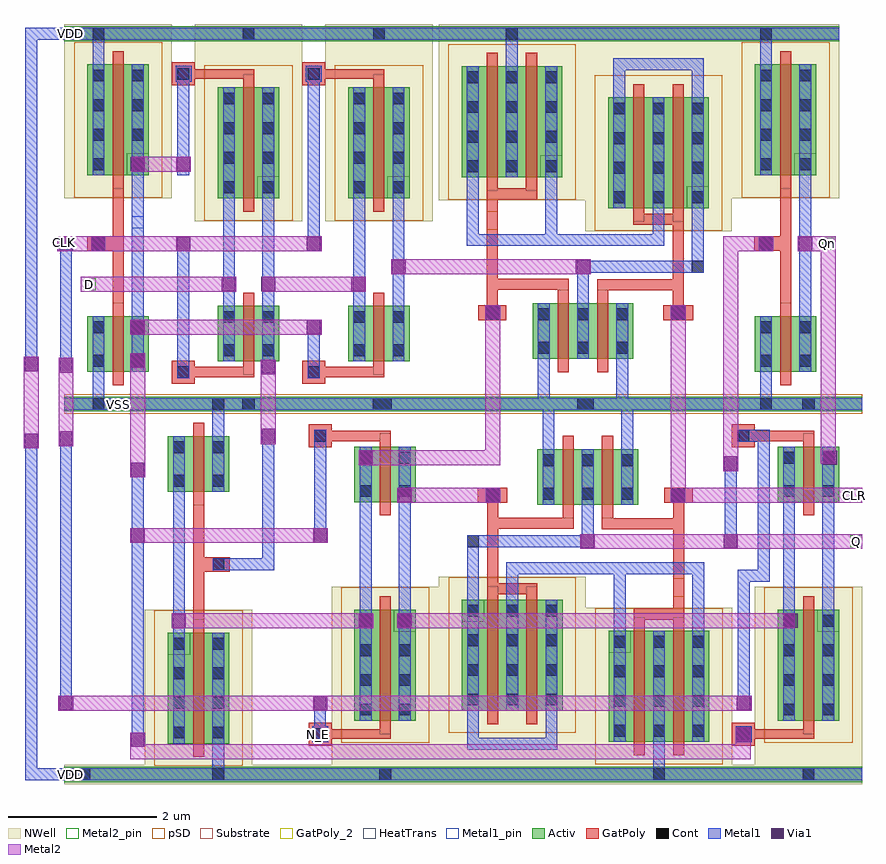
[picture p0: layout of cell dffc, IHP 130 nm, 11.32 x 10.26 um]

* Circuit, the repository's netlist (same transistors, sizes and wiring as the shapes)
* Extracted by KLayout with SG13G2 LVS runset on : 24/03/2026 19:41

.SUBCKT dffc
M$1 \$1 \$7 \$4 \$1 sg13_lv_nmos L=0.15u W=0.75u AS=0.255p AD=0.1425p PS=2.18u
+ PD=1.13u
M$2 \$4 \$17 \$1 \$1 sg13_lv_nmos L=0.15u W=0.75u AS=0.1425p AD=0.255p PS=1.13u
+ PD=2.18u
M$3 \$5 \$3 \$7 \$1 sg13_lv_nmos L=0.15u W=0.75u AS=0.255p AD=0.255p PS=2.18u
+ PD=2.18u
M$4 \$7 \$6 \$9 \$1 sg13_lv_nmos L=0.15u W=0.75u AS=0.255p AD=0.255p PS=2.18u
+ PD=2.18u
M$5 \$5 \$10 \$1 \$1 sg13_lv_nmos L=0.15u W=0.75u AS=0.255p AD=0.255p PS=2.18u
+ PD=2.18u
M$6 \$1 \$6 \$3 \$1 sg13_lv_nmos L=0.15u W=0.75u AS=0.255p AD=0.255p PS=2.18u
+ PD=2.18u
M$7 \$1 \$4 \$9 \$1 sg13_lv_nmos L=0.15u W=0.75u AS=0.255p AD=0.255p PS=2.18u
+ PD=2.18u
M$8 \$23 \$6 \$10 \$1 sg13_lv_nmos L=0.15u W=0.75u AS=0.255p AD=0.255p PS=2.18u
+ PD=2.18u
M$9 \$10 \$3 \$24 \$1 sg13_lv_nmos L=0.15u W=0.75u AS=0.255p AD=0.255p PS=2.18u
+ PD=2.18u
M$10 \$1 \$5 \$24 \$1 sg13_lv_nmos L=0.15u W=0.75u AS=0.255p AD=0.1425p
+ PS=2.18u PD=1.13u
M$11 \$24 \$17 \$1 \$1 sg13_lv_nmos L=0.15u W=0.75u AS=0.1425p AD=0.255p
+ PS=1.13u PD=2.18u
M$12 \$5 \$10 \$2 \$2 sg13_lv_pmos L=0.15u W=1.5u AS=0.51p AD=0.51p PS=3.68u
+ PD=3.68u
M$13 \$8 \$17 \$2 \$2 sg13_lv_pmos L=0.15u W=3u AS=0.795p AD=0.795p PS=5.56u
+ PD=5.56u
M$15 \$5 \$6 \$7 \$2 sg13_lv_pmos L=0.15u W=1.5u AS=0.51p AD=0.51p PS=3.68u
+ PD=3.68u
M$16 \$7 \$3 \$9 \$2 sg13_lv_pmos L=0.15u W=1.5u AS=0.51p AD=0.51p PS=3.68u
+ PD=3.68u
M$17 \$4 \$7 \$8 \$2 sg13_lv_pmos L=0.15u W=3u AS=0.795p AD=0.795p PS=5.56u
+ PD=5.56u
M$19 \$24 \$17 \$31 \$2 sg13_lv_pmos L=0.15u W=3u AS=0.795p AD=0.795p PS=5.56u
+ PD=5.56u
M$21 \$23 \$3 \$10 \$2 sg13_lv_pmos L=0.15u W=1.5u AS=0.51p AD=0.51p PS=3.68u
+ PD=3.68u
M$22 \$10 \$6 \$24 \$2 sg13_lv_pmos L=0.15u W=1.5u AS=0.51p AD=0.51p PS=3.68u
+ PD=3.68u
M$23 \$31 \$5 \$2 \$2 sg13_lv_pmos L=0.15u W=3u AS=0.795p AD=0.795p PS=5.56u
+ PD=5.56u
M$25 \$2 \$6 \$3 \$2 sg13_lv_pmos L=0.15u W=1.5u AS=0.51p AD=0.51p PS=3.68u
+ PD=3.68u
M$26 \$2 \$4 \$9 \$2 sg13_lv_pmos L=0.15u W=1.5u AS=0.51p AD=0.51p PS=3.68u
+ PD=3.68u
.ENDS dffc

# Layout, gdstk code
from math import pi, radians
import gdstk
lib = gdstk.Library(unit=1e-6, precision=5e-09)
def R(c, l, rs):  # rectangles x0, y0, x1, y1
    for r in rs: c.add(gdstk.rectangle(r[:2], r[2:], *l))
def A(c, l, x, y, w, h, nx, ny, dx, dy):  # array of equal rectangles
    R(c, l, [(x+i*dx, y+j*dy, x+i*dx+w, y+j*dy+h) for i in range(nx) for j in range(ny)])
Activ = (1, 0)
GatPoly = (5, 0)
GatPoly_2 = (5, 2)
Cont = (6, 0)
Metal1 = (8, 0)
Metal1_pin = (8, 2)
Metal2 = (10, 0)
Metal2_pin = (10, 2)
pSD = (14, 0)
Via1 = (19, 0)
NWell = (31, 0)
Substrate = (40, 0)
HeatTrans = (51, 0)

pmos_6 = lib.new_cell('pmos$6')
A(pmos_6, Activ, 0, 0, 0.3, 0.3, 3, 1, 0.53, 0)
R(pmos_6, Activ, [(0,0,1.36,1.5)])
R(pmos_6, GatPoly, [(0.34,-0.18,0.49,1.68), (0.34,-0.18,0.49,1.68), (0.87,-0.18,1.02,1.68)])
A(pmos_6, Cont, 0.07, 0.07, 0.16, 0.16, 3, 4, 0.53, 0.4)
R(pmos_6, Metal1, [(0.07,0,0.23,1.5), (0.07,0,0.23,1.5), (0.6,0,0.76,1.5), (0.6,0,0.76,1.5), (1.13,0,1.29,1.5)])
R(pmos_6, pSD, [(-0.18,-0.3,1.54,1.8)])
R(pmos_6, NWell, [(-0.31,-0.31,1.67,1.81)])
R(pmos_6, Substrate, [(1.06,0,1.36,0.3)])
R(pmos_6, HeatTrans, [(0.34,-0.18,0.49,1.68), (0.87,-0.18,1.02,1.68)])
pmos_6.add(gdstk.Label('pmos', (0.415,0.75), layer=63, texttype=0))
pmos_6.add(gdstk.Label('pmos', (0.415,0.75), layer=51, texttype=0))
pmos_6.add(gdstk.Label('pmos', (0.945,0.75), layer=51, texttype=0))

nmos_2_5 = lib.new_cell('nmos$2$5')
R(nmos_2_5, Activ, [(0,0,0.3,0.3), (0,0,0.83,0.75), (0.53,0,0.83,0.3)])
R(nmos_2_5, GatPoly, [(0.34,-0.18,0.49,0.93)])
R(nmos_2_5, GatPoly_2, [(0.34,-0.18,0.49,0.93)])
R(nmos_2_5, Cont, [(0.07,0.07,0.23,0.23), (0.6,0.07,0.76,0.23), (0.07,0.52,0.23,0.68), (0.6,0.52,0.76,0.68)])
R(nmos_2_5, Metal1, [(0.07,0,0.23,0.75), (0.6,0,0.76,0.75)])
R(nmos_2_5, Metal1_pin, [(0.07,0,0.23,0.75), (0.6,0,0.76,0.75)])
R(nmos_2_5, HeatTrans, [(0.34,-0.18,0.49,0.93)])
nmos_2_5.add(gdstk.Label('nmos', (0.415,0.375), layer=63, texttype=0))
nmos_2_5.add(gdstk.Label('nmos', (0.415,0.375), layer=51, texttype=0))

nor2_5 = lib.new_cell('nor2$5')
R(nor2_5, Activ, [(-2.34,-0.1,1.62,0.1), (-2.34,4.9,1.62,5.1)])
R(nor2_5, GatPoly, [(-1.805,1.13,-1.605,1.33), (-1.625,1.13,-1.425,1.33), (0.695,1.13,0.895,1.33), (0.82,1.13,0.97,1.685), (0.895,1.13,1.095,1.33), (-1.69,1.33,-1.54,1.69), (-0.2,1.535,0.97,1.685), (-1.69,1.54,-0.58,1.69), (0.82,1.685,0.97,2.46), (-1.69,1.69,-1.54,2.88), (0.29,2.42,0.97,2.57), (-1.69,2.76,-1.01,2.91)])
R(nor2_5, GatPoly_2, [(-1.69,2.35,-1.54,2.6)])
R(nor2_5, Cont, [(-0.47,-0.08,-0.31,0.08), (-1.69,1.15,-1.53,1.31), (0.815,1.15,0.975,1.31), (1.08,1.775,1.24,1.935), (-1.43,4.92,-1.27,5.08)])
R(nor2_5, Metal1, [(-2.34,-0.08,1.62,0.08), (-0.47,-0.08,-0.31,0.08), (-1,0.08,-0.84,0.84), (0.06,0.08,0.22,0.84), (-0.47,1.13,-0.31,1.775), (-1.69,1.15,-1.53,1.31), (0.815,1.15,0.975,1.31), (-0.47,1.775,1.24,1.935), (1.08,1.935,1.24,2.64), (-1.96,2.135,-1.8,3.29), (-1.96,2.135,0.71,2.295), (-0.9,2.135,-0.74,3.29), (0.55,2.135,0.71,2.87), (0.02,3.905,0.18,4.505), (1.08,3.905,1.24,4.505), (0.02,4.505,1.24,4.665), (-1.43,4.56,-1.27,5.08), (-2.34,4.92,1.62,5.08), (-1.43,4.92,-1.27,5.08)])
R(nor2_5, Metal1_pin, [(-2.34,-0.08,1.62,0.08), (-0.47,-0.08,-0.31,0.08), (-1.69,1.15,-1.53,1.31), (0.815,1.15,0.975,1.31), (1.08,1.775,1.24,1.935), (-2.34,4.92,-0.08,5.08), (-0.08,4.92,0.08,5.08), (0.08,4.92,1.62,5.08)])
R(nor2_5, pSD, [(-2.34,-0.13,1.62,0.13)])
R(nor2_5, NWell, [(-0.36,4.45,1.62,4.87), (-2.34,4.87,1.62,5.13)])
nor2_5.add(gdstk.Reference(pmos_6, (-0.05,2.64)))
nor2_5.add(gdstk.Reference(pmos_6, (-2.03,3.06)))
nor2_5.add(gdstk.Reference(pmos_6, (-2.03,3.06)))
nor2_5.add(gdstk.Reference(nmos_2_5, (-1.07,0.61)))
nor2_5.add(gdstk.Reference(nmos_2_5, (-0.54,0.61)))
nor2_5.add(gdstk.Label('vss', (-0.39,0), layer=8, texttype=2))
nor2_5.add(gdstk.Label('vdd', (-1.38,5), layer=8, texttype=2))
nor2_5.add(gdstk.Label('A', (-1.61,1.23), layer=8, texttype=2))
nor2_5.add(gdstk.Label('B', (0.895,1.23), layer=8, texttype=2))
nor2_5.add(gdstk.Label('out', (1.16,1.855), layer=8, texttype=2))

pmos_1_25 = lib.new_cell('pmos$1$25')
R(pmos_1_25, Activ, [(0,0,0.3,0.3), (0,0,0.83,1.5), (0.53,0,0.83,0.3)])
R(pmos_1_25, GatPoly, [(0.34,-0.18,0.49,1.68), (0.34,-0.18,0.49,1.68)])
A(pmos_1_25, Cont, 0.07, 0.07, 0.16, 0.16, 1, 4, 0, 0.4)
A(pmos_1_25, Cont, 0.6, 0.07, 0.16, 0.16, 1, 4, 0, 0.4)
R(pmos_1_25, Metal1, [(0.07,0,0.23,1.5), (0.07,0,0.23,1.5), (0.6,0,0.76,1.5), (0.6,0,0.76,1.5)])
R(pmos_1_25, pSD, [(-0.18,-0.3,1.01,1.8)])
R(pmos_1_25, NWell, [(-0.31,-0.31,1.14,1.81)])
R(pmos_1_25, Substrate, [(0.53,0,0.83,0.3)])
R(pmos_1_25, HeatTrans, [(0.34,-0.18,0.49,1.68)])
pmos_1_25.add(gdstk.Label('pmos', (0.415,0.75), layer=63, texttype=0))
pmos_1_25.add(gdstk.Label('pmos', (0.415,0.75), layer=51, texttype=0))

nmos_1_15 = lib.new_cell('nmos$1$15')
R(nmos_1_15, Activ, [(0,0,0.3,0.3), (0,0,0.83,0.75), (0.53,0,0.83,0.3)])
R(nmos_1_15, GatPoly, [(0.34,-0.18,0.49,0.93)])
R(nmos_1_15, GatPoly_2, [(0.34,-0.18,0.49,0.93)])
R(nmos_1_15, Cont, [(0.07,0.07,0.23,0.23), (0.6,0.07,0.76,0.23), (0.07,0.52,0.23,0.68), (0.6,0.52,0.76,0.68)])
R(nmos_1_15, Metal1, [(0.07,0,0.23,0.75), (0.6,0,0.76,0.75)])
R(nmos_1_15, Metal1_pin, [(0.07,0,0.23,0.75), (0.6,0,0.76,0.75)])
R(nmos_1_15, HeatTrans, [(0.34,-0.18,0.49,0.93)])
nmos_1_15.add(gdstk.Label('nmos', (0.415,0.375), layer=63, texttype=0))
nmos_1_15.add(gdstk.Label('nmos', (0.415,0.375), layer=51, texttype=0))

tg_15 = lib.new_cell('tg$15')
R(tg_15, Activ, [(-1.035,-0.1,0.725,0.1), (-1.035,4.9,0.725,5.1)])
R(tg_15, GatPoly, [(-1.035,0.275,-0.725,0.585), (-0.725,0.36,0.075,0.5), (-1.035,4.305,-0.725,4.615), (-0.725,4.39,0.075,4.52)])
R(tg_15, Cont, [(-0.085,-0.08,0.085,0.08), (-0.96,0.35,-0.8,0.51), (-0.96,4.375,-0.8,4.535), (-0.08,4.92,0.08,5.08)])
R(tg_15, Metal1, [(-1.035,-0.08,0.725,0.08), (-0.085,-0.08,0.085,0.08), (-0.96,0.35,-0.8,0.51), (-0.345,0.83,-0.185,0.99), (0.185,0.83,0.345,0.99), (-0.345,1.06,-0.185,2.775), (0.185,1.06,0.345,2.775), (-0.985,4.35,-0.77,4.565), (-1.035,4.92,0.725,5.08), (-0.08,4.92,0.08,5.08)])
R(tg_15, Metal1_pin, [(-1.035,-0.08,0.725,0.08), (-0.085,-0.08,0.085,0.08), (-0.96,0.35,-0.8,0.51), (-0.345,0.83,-0.185,0.99), (0.185,0.83,0.345,0.99), (-0.96,4.375,-0.8,4.535), (-1.035,4.92,0.725,5.08), (-0.08,4.92,0.08,5.08)])
R(tg_15, pSD, [(-1.035,-0.13,0.725,0.13)])
R(tg_15, NWell, [(-0.725,4.585,0.725,5.13)])
tg_15.add(gdstk.Reference(pmos_1_25, (-0.415,2.775)))
tg_15.add(gdstk.Reference(nmos_1_15, (-0.415,0.575)))
tg_15.add(gdstk.Label('E', (-0.89,0.425), layer=8, texttype=2))
tg_15.add(gdstk.Label('vss', (0,0), layer=8, texttype=2))
tg_15.add(gdstk.Label('vdd', (0,5), layer=8, texttype=2))
tg_15.add(gdstk.Label('N_E', (-0.895,4.44), layer=8, texttype=2))
tg_15.add(gdstk.Label('VIN', (-0.285,0.91), layer=8, texttype=2))
tg_15.add(gdstk.Label('VOUT', (0.255,0.925), layer=8, texttype=2))

nmos_11 = lib.new_cell('nmos$11')
R(nmos_11, Activ, [(0,0,0.3,0.3), (0,0,0.83,0.75), (0.53,0,0.83,0.3)])
R(nmos_11, GatPoly, [(0.34,-0.18,0.49,0.93)])
R(nmos_11, GatPoly_2, [(0.34,-0.18,0.49,0.93)])
R(nmos_11, Cont, [(0.07,0.07,0.23,0.23), (0.6,0.07,0.76,0.23), (0.07,0.52,0.23,0.68), (0.6,0.52,0.76,0.68)])
R(nmos_11, Metal1, [(0.07,0,0.23,0.75), (0.6,0,0.76,0.75)])
R(nmos_11, Metal1_pin, [(0.07,0,0.23,0.75), (0.6,0,0.76,0.75)])
R(nmos_11, HeatTrans, [(0.34,-0.18,0.49,0.93)])
nmos_11.add(gdstk.Label('nmos', (0.415,0.375), layer=63, texttype=0))
nmos_11.add(gdstk.Label('nmos', (0.415,0.375), layer=51, texttype=0))

pmos_1_22 = lib.new_cell('pmos$1$22')
R(pmos_1_22, Activ, [(0,0,0.3,0.3), (0,0,0.83,1.5), (0.53,0,0.83,0.3)])
R(pmos_1_22, GatPoly, [(0.34,-0.18,0.49,1.68), (0.34,-0.18,0.49,1.68)])
A(pmos_1_22, Cont, 0.07, 0.07, 0.16, 0.16, 1, 4, 0, 0.4)
A(pmos_1_22, Cont, 0.6, 0.07, 0.16, 0.16, 1, 4, 0, 0.4)
R(pmos_1_22, Metal1, [(0.07,0,0.23,1.5), (0.07,0,0.23,1.5), (0.6,0,0.76,1.5), (0.6,0,0.76,1.5)])
R(pmos_1_22, pSD, [(-0.18,-0.3,1.01,1.8)])
R(pmos_1_22, NWell, [(-0.31,-0.31,1.14,1.81)])
R(pmos_1_22, Substrate, [(0.53,0,0.83,0.3)])
R(pmos_1_22, HeatTrans, [(0.34,-0.18,0.49,1.68)])
pmos_1_22.add(gdstk.Label('pmos', (0.415,0.75), layer=63, texttype=0))
pmos_1_22.add(gdstk.Label('pmos', (0.415,0.75), layer=51, texttype=0))

inverter_9 = lib.new_cell('inverter$9')
R(inverter_9, Activ, [(-0.46,-0.1,0.99,0.1), (-0.46,4.9,0.99,5.1)])
R(inverter_9, GatPoly, [(0.19,1.365,0.34,2.965), (-0.155,2.07,0.145,2.265), (0.145,2.07,0.19,2.265)])
R(inverter_9, Cont, [(-0.08,-0.08,0.08,0.08), (-0.085,2.085,0.075,2.245), (-0.08,4.92,0.08,5.08)])
R(inverter_9, Metal1, [(-0.46,-0.08,0.99,0.08), (-0.08,-0.08,0.08,0.08), (-0.08,0.08,0.08,0.435), (0.45,0.96,0.61,3.37), (-0.085,2.085,0.075,2.245), (-0.08,4.585,0.08,4.92), (-0.46,4.92,-0.08,5.08), (-0.08,4.92,0.08,5.08), (0.08,4.92,0.99,5.08)])
R(inverter_9, Metal1_pin, [(-0.46,-0.08,0.99,0.08), (-0.08,-0.08,0.08,0.08), (-0.085,2.085,0.075,2.245), (0.45,3.155,0.61,3.315), (-0.46,4.92,0.99,5.08), (-0.08,4.92,0.08,5.08)])
R(inverter_9, pSD, [(-0.46,-0.13,0.99,0.13)])
R(inverter_9, NWell, [(-0.46,4.87,0.99,5.13)])
inverter_9.add(gdstk.Reference(nmos_11, (-0.15,0.435)))
inverter_9.add(gdstk.Reference(pmos_1_22, (-0.15,3.085)))
inverter_9.add(gdstk.Label('out', (0.505,3.25), layer=8, texttype=2))
inverter_9.add(gdstk.Label('VSS', (0.015,0.015), layer=8, texttype=2))
inverter_9.add(gdstk.Label('VDD', (-0.025,4.94), layer=8, texttype=2))
inverter_9.add(gdstk.Label('in', (-0.01,2.15), layer=8, texttype=2))

nmos_12 = lib.new_cell('nmos$12')
R(nmos_12, Activ, [(0,0,0.3,0.3), (0,0,0.83,0.75), (0.53,0,0.83,0.3)])
R(nmos_12, GatPoly, [(0.34,-0.18,0.49,0.93)])
R(nmos_12, GatPoly_2, [(0.34,-0.18,0.49,0.93)])
R(nmos_12, Cont, [(0.07,0.07,0.23,0.23), (0.6,0.07,0.76,0.23), (0.07,0.52,0.23,0.68), (0.6,0.52,0.76,0.68)])
R(nmos_12, Metal1, [(0.07,0,0.23,0.75), (0.6,0,0.76,0.75)])
R(nmos_12, Metal1_pin, [(0.07,0,0.23,0.75), (0.6,0,0.76,0.75)])
R(nmos_12, HeatTrans, [(0.34,-0.18,0.49,0.93)])
nmos_12.add(gdstk.Label('nmos', (0.415,0.375), layer=63, texttype=0))
nmos_12.add(gdstk.Label('nmos', (0.415,0.375), layer=51, texttype=0))

pmos_1_26 = lib.new_cell('pmos$1$26')
R(pmos_1_26, Activ, [(0,0,0.3,0.3), (0,0,0.83,1.5), (0.53,0,0.83,0.3)])
R(pmos_1_26, GatPoly, [(0.34,-0.18,0.49,1.68), (0.34,-0.18,0.49,1.68)])
A(pmos_1_26, Cont, 0.07, 0.07, 0.16, 0.16, 1, 4, 0, 0.4)
A(pmos_1_26, Cont, 0.6, 0.07, 0.16, 0.16, 1, 4, 0, 0.4)
R(pmos_1_26, Metal1, [(0.07,0,0.23,1.5), (0.07,0,0.23,1.5), (0.6,0,0.76,1.5), (0.6,0,0.76,1.5)])
R(pmos_1_26, pSD, [(-0.18,-0.3,1.01,1.8)])
R(pmos_1_26, NWell, [(-0.31,-0.31,1.14,1.81)])
R(pmos_1_26, Substrate, [(0.53,0,0.83,0.3)])
R(pmos_1_26, HeatTrans, [(0.34,-0.18,0.49,1.68)])
pmos_1_26.add(gdstk.Label('pmos', (0.415,0.75), layer=63, texttype=0))
pmos_1_26.add(gdstk.Label('pmos', (0.415,0.75), layer=51, texttype=0))

inverter_10 = lib.new_cell('inverter$10')
R(inverter_10, Activ, [(-0.46,-0.1,0.99,0.1), (-0.46,4.9,0.99,5.1)])
R(inverter_10, GatPoly, [(0.19,1.365,0.34,2.965), (-0.155,2.07,0.145,2.265), (0.145,2.07,0.19,2.265)])
R(inverter_10, Cont, [(-0.08,-0.08,0.08,0.08), (-0.085,2.085,0.075,2.245), (-0.08,4.92,0.08,5.08)])
R(inverter_10, Metal1, [(-0.46,-0.08,0.99,0.08), (-0.08,-0.08,0.08,0.08), (-0.08,0.08,0.08,0.435), (0.45,0.96,0.61,3.37), (-0.085,2.085,0.075,2.245), (-0.08,4.585,0.08,4.92), (-0.46,4.92,-0.08,5.08), (-0.08,4.92,0.08,5.08), (0.08,4.92,0.99,5.08)])
R(inverter_10, Metal1_pin, [(-0.46,-0.08,0.99,0.08), (-0.08,-0.08,0.08,0.08), (-0.085,2.085,0.075,2.245), (0.45,3.155,0.61,3.315), (-0.46,4.92,0.99,5.08), (-0.08,4.92,0.08,5.08)])
R(inverter_10, pSD, [(-0.46,-0.13,0.99,0.13)])
R(inverter_10, NWell, [(-0.46,4.87,0.99,5.13)])
inverter_10.add(gdstk.Reference(nmos_12, (-0.15,0.435)))
inverter_10.add(gdstk.Reference(pmos_1_26, (-0.15,3.085)))
inverter_10.add(gdstk.Label('out', (0.505,3.25), layer=8, texttype=2))
inverter_10.add(gdstk.Label('VSS', (0.015,0.015), layer=8, texttype=2))
inverter_10.add(gdstk.Label('VDD', (-0.025,4.94), layer=8, texttype=2))
inverter_10.add(gdstk.Label('in', (-0.01,2.15), layer=8, texttype=2))

pmos_1_23 = lib.new_cell('pmos$1$23')
R(pmos_1_23, Activ, [(0,0,0.3,0.3), (0,0,0.83,1.5), (0.53,0,0.83,0.3)])
R(pmos_1_23, GatPoly, [(0.34,-0.18,0.49,1.68), (0.34,-0.18,0.49,1.68)])
A(pmos_1_23, Cont, 0.07, 0.07, 0.16, 0.16, 1, 4, 0, 0.4)
A(pmos_1_23, Cont, 0.6, 0.07, 0.16, 0.16, 1, 4, 0, 0.4)
R(pmos_1_23, Metal1, [(0.07,0,0.23,1.5), (0.07,0,0.23,1.5), (0.6,0,0.76,1.5), (0.6,0,0.76,1.5)])
R(pmos_1_23, pSD, [(-0.18,-0.3,1.01,1.8)])
R(pmos_1_23, NWell, [(-0.31,-0.31,1.14,1.81)])
R(pmos_1_23, Substrate, [(0.53,0,0.83,0.3)])
R(pmos_1_23, HeatTrans, [(0.34,-0.18,0.49,1.68)])
pmos_1_23.add(gdstk.Label('pmos', (0.415,0.75), layer=63, texttype=0))
pmos_1_23.add(gdstk.Label('pmos', (0.415,0.75), layer=51, texttype=0))

nmos_1_13 = lib.new_cell('nmos$1$13')
R(nmos_1_13, Activ, [(0,0,0.3,0.3), (0,0,0.83,0.75), (0.53,0,0.83,0.3)])
R(nmos_1_13, GatPoly, [(0.34,-0.18,0.49,0.93)])
R(nmos_1_13, GatPoly_2, [(0.34,-0.18,0.49,0.93)])
R(nmos_1_13, Cont, [(0.07,0.07,0.23,0.23), (0.6,0.07,0.76,0.23), (0.07,0.52,0.23,0.68), (0.6,0.52,0.76,0.68)])
R(nmos_1_13, Metal1, [(0.07,0,0.23,0.75), (0.6,0,0.76,0.75)])
R(nmos_1_13, Metal1_pin, [(0.07,0,0.23,0.75), (0.6,0,0.76,0.75)])
R(nmos_1_13, HeatTrans, [(0.34,-0.18,0.49,0.93)])
nmos_1_13.add(gdstk.Label('nmos', (0.415,0.375), layer=63, texttype=0))
nmos_1_13.add(gdstk.Label('nmos', (0.415,0.375), layer=51, texttype=0))

tg_13 = lib.new_cell('tg$13')
R(tg_13, Activ, [(-1.035,-0.1,0.725,0.1), (-1.035,4.9,0.725,5.1)])
R(tg_13, GatPoly, [(-1.035,0.275,-0.725,0.585), (-0.725,0.36,0.075,0.5), (-1.035,4.305,-0.725,4.615), (-0.725,4.39,0.075,4.52)])
R(tg_13, Cont, [(-0.085,-0.08,0.085,0.08), (-0.96,0.35,-0.8,0.51), (-0.96,4.375,-0.8,4.535), (-0.08,4.92,0.08,5.08)])
R(tg_13, Metal1, [(-1.035,-0.08,0.725,0.08), (-0.085,-0.08,0.085,0.08), (-0.96,0.35,-0.8,0.51), (-0.345,0.83,-0.185,0.99), (0.185,0.83,0.345,0.99), (-0.345,1.06,-0.185,2.775), (0.185,1.06,0.345,2.775), (-0.985,4.35,-0.77,4.565), (-1.035,4.92,0.725,5.08), (-0.08,4.92,0.08,5.08)])
R(tg_13, Metal1_pin, [(-1.035,-0.08,0.725,0.08), (-0.085,-0.08,0.085,0.08), (-0.96,0.35,-0.8,0.51), (-0.345,0.83,-0.185,0.99), (0.185,0.83,0.345,0.99), (-0.96,4.375,-0.8,4.535), (-1.035,4.92,0.725,5.08), (-0.08,4.92,0.08,5.08)])
R(tg_13, pSD, [(-1.035,-0.13,0.725,0.13)])
R(tg_13, NWell, [(-0.725,4.585,0.725,5.13)])
tg_13.add(gdstk.Reference(pmos_1_23, (-0.415,2.775)))
tg_13.add(gdstk.Reference(nmos_1_13, (-0.415,0.575)))
tg_13.add(gdstk.Label('E', (-0.89,0.425), layer=8, texttype=2))
tg_13.add(gdstk.Label('vss', (0,0), layer=8, texttype=2))
tg_13.add(gdstk.Label('vdd', (0,5), layer=8, texttype=2))
tg_13.add(gdstk.Label('N_E', (-0.895,4.44), layer=8, texttype=2))
tg_13.add(gdstk.Label('VIN', (-0.285,0.91), layer=8, texttype=2))
tg_13.add(gdstk.Label('VOUT', (0.255,0.925), layer=8, texttype=2))

nmos_13 = lib.new_cell('nmos$13')
R(nmos_13, Activ, [(0,0,0.3,0.3), (0,0,0.83,0.75), (0.53,0,0.83,0.3)])
R(nmos_13, GatPoly, [(0.34,-0.18,0.49,0.93)])
R(nmos_13, GatPoly_2, [(0.34,-0.18,0.49,0.93)])
R(nmos_13, Cont, [(0.07,0.07,0.23,0.23), (0.6,0.07,0.76,0.23), (0.07,0.52,0.23,0.68), (0.6,0.52,0.76,0.68)])
R(nmos_13, Metal1, [(0.07,0,0.23,0.75), (0.6,0,0.76,0.75)])
R(nmos_13, Metal1_pin, [(0.07,0,0.23,0.75), (0.6,0,0.76,0.75)])
R(nmos_13, HeatTrans, [(0.34,-0.18,0.49,0.93)])
nmos_13.add(gdstk.Label('nmos', (0.415,0.375), layer=63, texttype=0))
nmos_13.add(gdstk.Label('nmos', (0.415,0.375), layer=51, texttype=0))

pmos_1_27 = lib.new_cell('pmos$1$27')
R(pmos_1_27, Activ, [(0,0,0.3,0.3), (0,0,0.83,1.5), (0.53,0,0.83,0.3)])
R(pmos_1_27, GatPoly, [(0.34,-0.18,0.49,1.68), (0.34,-0.18,0.49,1.68)])
A(pmos_1_27, Cont, 0.07, 0.07, 0.16, 0.16, 1, 4, 0, 0.4)
A(pmos_1_27, Cont, 0.6, 0.07, 0.16, 0.16, 1, 4, 0, 0.4)
R(pmos_1_27, Metal1, [(0.07,0,0.23,1.5), (0.07,0,0.23,1.5), (0.6,0,0.76,1.5), (0.6,0,0.76,1.5)])
R(pmos_1_27, pSD, [(-0.18,-0.3,1.01,1.8)])
R(pmos_1_27, NWell, [(-0.31,-0.31,1.14,1.81)])
R(pmos_1_27, Substrate, [(0.53,0,0.83,0.3)])
R(pmos_1_27, HeatTrans, [(0.34,-0.18,0.49,1.68)])
pmos_1_27.add(gdstk.Label('pmos', (0.415,0.75), layer=63, texttype=0))
pmos_1_27.add(gdstk.Label('pmos', (0.415,0.75), layer=51, texttype=0))

inverter_11 = lib.new_cell('inverter$11')
R(inverter_11, Activ, [(-0.46,-0.1,0.99,0.1), (-0.46,4.9,0.99,5.1)])
R(inverter_11, GatPoly, [(0.19,1.365,0.34,2.965), (-0.155,2.07,0.145,2.265), (0.145,2.07,0.19,2.265)])
R(inverter_11, Cont, [(-0.08,-0.08,0.08,0.08), (-0.085,2.085,0.075,2.245), (-0.08,4.92,0.08,5.08)])
R(inverter_11, Metal1, [(-0.46,-0.08,0.99,0.08), (-0.08,-0.08,0.08,0.08), (-0.08,0.08,0.08,0.435), (0.45,0.96,0.61,3.37), (-0.085,2.085,0.075,2.245), (-0.08,4.585,0.08,4.92), (-0.46,4.92,-0.08,5.08), (-0.08,4.92,0.08,5.08), (0.08,4.92,0.99,5.08)])
R(inverter_11, Metal1_pin, [(-0.46,-0.08,0.99,0.08), (-0.08,-0.08,0.08,0.08), (-0.085,2.085,0.075,2.245), (0.45,3.155,0.61,3.315), (-0.46,4.92,0.99,5.08), (-0.08,4.92,0.08,5.08)])
R(inverter_11, pSD, [(-0.46,-0.13,0.99,0.13)])
R(inverter_11, NWell, [(-0.46,4.87,0.99,5.13)])
inverter_11.add(gdstk.Reference(nmos_13, (-0.15,0.435)))
inverter_11.add(gdstk.Reference(pmos_1_27, (-0.15,3.085)))
inverter_11.add(gdstk.Label('out', (0.505,3.25), layer=8, texttype=2))
inverter_11.add(gdstk.Label('VSS', (0.015,0.015), layer=8, texttype=2))
inverter_11.add(gdstk.Label('VDD', (-0.025,4.94), layer=8, texttype=2))
inverter_11.add(gdstk.Label('in', (-0.01,2.15), layer=8, texttype=2))

pmos_1_24 = lib.new_cell('pmos$1$24')
R(pmos_1_24, Activ, [(0,0,0.3,0.3), (0,0,0.83,1.5), (0.53,0,0.83,0.3)])
R(pmos_1_24, GatPoly, [(0.34,-0.18,0.49,1.68), (0.34,-0.18,0.49,1.68)])
A(pmos_1_24, Cont, 0.07, 0.07, 0.16, 0.16, 1, 4, 0, 0.4)
A(pmos_1_24, Cont, 0.6, 0.07, 0.16, 0.16, 1, 4, 0, 0.4)
R(pmos_1_24, Metal1, [(0.07,0,0.23,1.5), (0.07,0,0.23,1.5), (0.6,0,0.76,1.5), (0.6,0,0.76,1.5)])
R(pmos_1_24, pSD, [(-0.18,-0.3,1.01,1.8)])
R(pmos_1_24, NWell, [(-0.31,-0.31,1.14,1.81)])
R(pmos_1_24, Substrate, [(0.53,0,0.83,0.3)])
R(pmos_1_24, HeatTrans, [(0.34,-0.18,0.49,1.68)])
pmos_1_24.add(gdstk.Label('pmos', (0.415,0.75), layer=63, texttype=0))
pmos_1_24.add(gdstk.Label('pmos', (0.415,0.75), layer=51, texttype=0))

nmos_1_14 = lib.new_cell('nmos$1$14')
R(nmos_1_14, Activ, [(0,0,0.3,0.3), (0,0,0.83,0.75), (0.53,0,0.83,0.3)])
R(nmos_1_14, GatPoly, [(0.34,-0.18,0.49,0.93)])
R(nmos_1_14, GatPoly_2, [(0.34,-0.18,0.49,0.93)])
R(nmos_1_14, Cont, [(0.07,0.07,0.23,0.23), (0.6,0.07,0.76,0.23), (0.07,0.52,0.23,0.68), (0.6,0.52,0.76,0.68)])
R(nmos_1_14, Metal1, [(0.07,0,0.23,0.75), (0.6,0,0.76,0.75)])
R(nmos_1_14, Metal1_pin, [(0.07,0,0.23,0.75), (0.6,0,0.76,0.75)])
R(nmos_1_14, HeatTrans, [(0.34,-0.18,0.49,0.93)])
nmos_1_14.add(gdstk.Label('nmos', (0.415,0.375), layer=63, texttype=0))
nmos_1_14.add(gdstk.Label('nmos', (0.415,0.375), layer=51, texttype=0))

tg_14 = lib.new_cell('tg$14')
R(tg_14, Activ, [(-1.035,-0.1,0.725,0.1), (-1.035,4.9,0.725,5.1)])
R(tg_14, GatPoly, [(-1.035,0.275,-0.725,0.585), (-0.725,0.36,0.075,0.5), (-1.035,4.305,-0.725,4.615), (-0.725,4.39,0.075,4.52)])
R(tg_14, Cont, [(-0.085,-0.08,0.085,0.08), (-0.96,0.35,-0.8,0.51), (-0.96,4.375,-0.8,4.535), (-0.08,4.92,0.08,5.08)])
R(tg_14, Metal1, [(-1.035,-0.08,0.725,0.08), (-0.085,-0.08,0.085,0.08), (-0.96,0.35,-0.8,0.51), (-0.345,0.83,-0.185,0.99), (0.185,0.83,0.345,0.99), (-0.345,1.06,-0.185,2.775), (0.185,1.06,0.345,2.775), (-0.985,4.35,-0.77,4.565), (-1.035,4.92,0.725,5.08), (-0.08,4.92,0.08,5.08)])
R(tg_14, Metal1_pin, [(-1.035,-0.08,0.725,0.08), (-0.085,-0.08,0.085,0.08), (-0.96,0.35,-0.8,0.51), (-0.345,0.83,-0.185,0.99), (0.185,0.83,0.345,0.99), (-0.96,4.375,-0.8,4.535), (-1.035,4.92,0.725,5.08), (-0.08,4.92,0.08,5.08)])
R(tg_14, pSD, [(-1.035,-0.13,0.725,0.13)])
R(tg_14, NWell, [(-0.725,4.585,0.725,5.13)])
tg_14.add(gdstk.Reference(pmos_1_24, (-0.415,2.775)))
tg_14.add(gdstk.Reference(nmos_1_14, (-0.415,0.575)))
tg_14.add(gdstk.Label('E', (-0.89,0.425), layer=8, texttype=2))
tg_14.add(gdstk.Label('vss', (0,0), layer=8, texttype=2))
tg_14.add(gdstk.Label('vdd', (0,5), layer=8, texttype=2))
tg_14.add(gdstk.Label('N_E', (-0.895,4.44), layer=8, texttype=2))
tg_14.add(gdstk.Label('VIN', (-0.285,0.91), layer=8, texttype=2))
tg_14.add(gdstk.Label('VOUT', (0.255,0.925), layer=8, texttype=2))

pmos_7 = lib.new_cell('pmos$7')
A(pmos_7, Activ, 0, 0, 0.3, 0.3, 3, 1, 0.53, 0)
R(pmos_7, Activ, [(0,0,1.36,1.5)])
R(pmos_7, GatPoly, [(0.34,-0.18,0.49,1.68), (0.34,-0.18,0.49,1.68), (0.87,-0.18,1.02,1.68)])
A(pmos_7, Cont, 0.07, 0.07, 0.16, 0.16, 3, 4, 0.53, 0.4)
R(pmos_7, Metal1, [(0.07,0,0.23,1.5), (0.07,0,0.23,1.5), (0.6,0,0.76,1.5), (0.6,0,0.76,1.5), (1.13,0,1.29,1.5)])
R(pmos_7, pSD, [(-0.18,-0.3,1.54,1.8)])
R(pmos_7, NWell, [(-0.31,-0.31,1.67,1.81)])
R(pmos_7, Substrate, [(1.06,0,1.36,0.3)])
R(pmos_7, HeatTrans, [(0.34,-0.18,0.49,1.68), (0.87,-0.18,1.02,1.68)])
pmos_7.add(gdstk.Label('pmos', (0.415,0.75), layer=63, texttype=0))
pmos_7.add(gdstk.Label('pmos', (0.415,0.75), layer=51, texttype=0))
pmos_7.add(gdstk.Label('pmos', (0.945,0.75), layer=51, texttype=0))

nmos_2_6 = lib.new_cell('nmos$2$6')
R(nmos_2_6, Activ, [(0,0,0.3,0.3), (0,0,0.83,0.75), (0.53,0,0.83,0.3)])
R(nmos_2_6, GatPoly, [(0.34,-0.18,0.49,0.93)])
R(nmos_2_6, GatPoly_2, [(0.34,-0.18,0.49,0.93)])
R(nmos_2_6, Cont, [(0.07,0.07,0.23,0.23), (0.6,0.07,0.76,0.23), (0.07,0.52,0.23,0.68), (0.6,0.52,0.76,0.68)])
R(nmos_2_6, Metal1, [(0.07,0,0.23,0.75), (0.6,0,0.76,0.75)])
R(nmos_2_6, Metal1_pin, [(0.07,0,0.23,0.75), (0.6,0,0.76,0.75)])
R(nmos_2_6, HeatTrans, [(0.34,-0.18,0.49,0.93)])
nmos_2_6.add(gdstk.Label('nmos', (0.415,0.375), layer=63, texttype=0))
nmos_2_6.add(gdstk.Label('nmos', (0.415,0.375), layer=51, texttype=0))

nor2_6 = lib.new_cell('nor2$6')
R(nor2_6, Activ, [(-2.34,-0.1,1.62,0.1), (-2.34,4.9,1.62,5.1)])
R(nor2_6, GatPoly, [(-1.805,1.13,-1.605,1.33), (-1.625,1.13,-1.425,1.33), (0.695,1.13,0.895,1.33), (0.82,1.13,0.97,1.685), (0.895,1.13,1.095,1.33), (-1.69,1.33,-1.54,1.69), (-0.2,1.535,0.97,1.685), (-1.69,1.54,-0.58,1.69), (0.82,1.685,0.97,2.46), (-1.69,1.69,-1.54,2.88), (0.29,2.42,0.97,2.57), (-1.69,2.76,-1.01,2.91)])
R(nor2_6, GatPoly_2, [(-1.69,2.35,-1.54,2.6)])
R(nor2_6, Cont, [(-0.47,-0.08,-0.31,0.08), (-1.69,1.15,-1.53,1.31), (0.815,1.15,0.975,1.31), (1.08,1.775,1.24,1.935), (-1.43,4.92,-1.27,5.08)])
R(nor2_6, Metal1, [(-2.34,-0.08,1.62,0.08), (-0.47,-0.08,-0.31,0.08), (-1,0.08,-0.84,0.84), (0.06,0.08,0.22,0.84), (-0.47,1.13,-0.31,1.775), (-1.69,1.15,-1.53,1.31), (0.815,1.15,0.975,1.31), (-0.47,1.775,1.24,1.935), (1.08,1.935,1.24,2.64), (-1.96,2.135,-1.8,3.29), (-1.96,2.135,0.71,2.295), (-0.9,2.135,-0.74,3.29), (0.55,2.135,0.71,2.87), (0.02,3.905,0.18,4.505), (1.08,3.905,1.24,4.505), (0.02,4.505,1.24,4.665), (-1.43,4.56,-1.27,5.08), (-2.34,4.92,1.62,5.08), (-1.43,4.92,-1.27,5.08)])
R(nor2_6, Metal1_pin, [(-2.34,-0.08,1.62,0.08), (-0.47,-0.08,-0.31,0.08), (-1.69,1.15,-1.53,1.31), (0.815,1.15,0.975,1.31), (1.08,1.775,1.24,1.935), (-2.34,4.92,-0.08,5.08), (-0.08,4.92,0.08,5.08), (0.08,4.92,1.62,5.08)])
R(nor2_6, pSD, [(-2.34,-0.13,1.62,0.13)])
R(nor2_6, NWell, [(-0.36,4.45,1.62,4.87), (-2.34,4.87,1.62,5.13)])
nor2_6.add(gdstk.Reference(pmos_7, (-0.05,2.64)))
nor2_6.add(gdstk.Reference(pmos_7, (-2.03,3.06)))
nor2_6.add(gdstk.Reference(pmos_7, (-2.03,3.06)))
nor2_6.add(gdstk.Reference(nmos_2_6, (-1.07,0.61)))
nor2_6.add(gdstk.Reference(nmos_2_6, (-0.54,0.61)))
nor2_6.add(gdstk.Label('vss', (-0.39,0), layer=8, texttype=2))
nor2_6.add(gdstk.Label('vdd', (-1.38,5), layer=8, texttype=2))
nor2_6.add(gdstk.Label('A', (-1.61,1.23), layer=8, texttype=2))
nor2_6.add(gdstk.Label('B', (0.895,1.23), layer=8, texttype=2))
nor2_6.add(gdstk.Label('out', (1.16,1.855), layer=8, texttype=2))

pmos_1_28 = lib.new_cell('pmos$1$28')
R(pmos_1_28, Activ, [(0,0,0.3,0.3), (0,0,0.83,1.5), (0.53,0,0.83,0.3)])
R(pmos_1_28, GatPoly, [(0.34,-0.18,0.49,1.68), (0.34,-0.18,0.49,1.68)])
A(pmos_1_28, Cont, 0.07, 0.07, 0.16, 0.16, 1, 4, 0, 0.4)
A(pmos_1_28, Cont, 0.6, 0.07, 0.16, 0.16, 1, 4, 0, 0.4)
R(pmos_1_28, Metal1, [(0.07,0,0.23,1.5), (0.07,0,0.23,1.5), (0.6,0,0.76,1.5), (0.6,0,0.76,1.5)])
R(pmos_1_28, pSD, [(-0.18,-0.3,1.01,1.8)])
R(pmos_1_28, NWell, [(-0.31,-0.31,1.14,1.81)])
R(pmos_1_28, Substrate, [(0.53,0,0.83,0.3)])
R(pmos_1_28, HeatTrans, [(0.34,-0.18,0.49,1.68)])
pmos_1_28.add(gdstk.Label('pmos', (0.415,0.75), layer=63, texttype=0))
pmos_1_28.add(gdstk.Label('pmos', (0.415,0.75), layer=51, texttype=0))

nmos_1_16 = lib.new_cell('nmos$1$16')
R(nmos_1_16, Activ, [(0,0,0.3,0.3), (0,0,0.83,0.75), (0.53,0,0.83,0.3)])
R(nmos_1_16, GatPoly, [(0.34,-0.18,0.49,0.93)])
R(nmos_1_16, GatPoly_2, [(0.34,-0.18,0.49,0.93)])
R(nmos_1_16, Cont, [(0.07,0.07,0.23,0.23), (0.6,0.07,0.76,0.23), (0.07,0.52,0.23,0.68), (0.6,0.52,0.76,0.68)])
R(nmos_1_16, Metal1, [(0.07,0,0.23,0.75), (0.6,0,0.76,0.75)])
R(nmos_1_16, Metal1_pin, [(0.07,0,0.23,0.75), (0.6,0,0.76,0.75)])
R(nmos_1_16, HeatTrans, [(0.34,-0.18,0.49,0.93)])
nmos_1_16.add(gdstk.Label('nmos', (0.415,0.375), layer=63, texttype=0))
nmos_1_16.add(gdstk.Label('nmos', (0.415,0.375), layer=51, texttype=0))

tg_16 = lib.new_cell('tg$16')
R(tg_16, Activ, [(-1.035,-0.1,0.725,0.1), (-1.035,4.9,0.725,5.1)])
R(tg_16, GatPoly, [(-1.035,0.275,-0.725,0.585), (-0.725,0.36,0.075,0.5), (-1.035,4.305,-0.725,4.615), (-0.725,4.39,0.075,4.52)])
R(tg_16, Cont, [(-0.085,-0.08,0.085,0.08), (-0.96,0.35,-0.8,0.51), (-0.96,4.375,-0.8,4.535), (-0.08,4.92,0.08,5.08)])
R(tg_16, Metal1, [(-1.035,-0.08,0.725,0.08), (-0.085,-0.08,0.085,0.08), (-0.96,0.35,-0.8,0.51), (-0.345,0.83,-0.185,0.99), (0.185,0.83,0.345,0.99), (-0.345,1.06,-0.185,2.775), (0.185,1.06,0.345,2.775), (-0.985,4.35,-0.77,4.565), (-1.035,4.92,0.725,5.08), (-0.08,4.92,0.08,5.08)])
R(tg_16, Metal1_pin, [(-1.035,-0.08,0.725,0.08), (-0.085,-0.08,0.085,0.08), (-0.96,0.35,-0.8,0.51), (-0.345,0.83,-0.185,0.99), (0.185,0.83,0.345,0.99), (-0.96,4.375,-0.8,4.535), (-1.035,4.92,0.725,5.08), (-0.08,4.92,0.08,5.08)])
R(tg_16, pSD, [(-1.035,-0.13,0.725,0.13)])
R(tg_16, NWell, [(-0.725,4.585,0.725,5.13)])
tg_16.add(gdstk.Reference(pmos_1_28, (-0.415,2.775)))
tg_16.add(gdstk.Reference(nmos_1_16, (-0.415,0.575)))
tg_16.add(gdstk.Label('E', (-0.89,0.425), layer=8, texttype=2))
tg_16.add(gdstk.Label('vss', (0,0), layer=8, texttype=2))
tg_16.add(gdstk.Label('vdd', (0,5), layer=8, texttype=2))
tg_16.add(gdstk.Label('N_E', (-0.895,4.44), layer=8, texttype=2))
tg_16.add(gdstk.Label('VIN', (-0.285,0.91), layer=8, texttype=2))
tg_16.add(gdstk.Label('VOUT', (0.255,0.925), layer=8, texttype=2))

dffc = lib.new_cell('dffc')
R(dffc, Activ, [(7.72,-5.105,18.49,-4.9), (12.69,4.9,12.77,5.1)])
R(dffc, Cont, [(7.72,-5.08,8.07,-4.92)])
R(dffc, Metal1, [(7.19,-5.08,7.72,-4.92), (7.19,-5.08,7.35,-0.4), (7.72,-5.08,18.49,-4.92), (8.63,-4.63,8.79,-1.69), (11.09,-4.535,11.25,-3.945), (16.81,-4.135,16.97,-2.24), (7.66,-4.12,7.82,-0.37), (16.81,-2.4,17.24,-2.24), (17.08,-2.4,17.24,-0.35), (9.72,-2.245,10.55,-2.085), (10.39,-2.245,10.55,-0.335), (16.635,-1.95,16.795,-0.705), (11.09,-1.87,11.255,-0.35), (8.63,-1.855,8.79,-0.79), (16.805,-0.51,17.24,-0.35), (7.72,-0.08,18.49,0.08), (9.245,0.35,9.405,0.55), (10.39,0.42,10.55,0.645), (7.66,0.425,7.82,2.26), (7.19,0.44,7.35,5.08), (9.245,0.51,9.405,2.255), (11.005,0.51,11.165,1.13), (10.39,0.58,10.55,0.86), (9.86,1.43,10.02,1.85), (11.005,2.07,11.165,4.535), (9.245,3.09,9.405,4.375), (7.19,4.92,7.72,5.08), (7.72,4.92,18.18,5.08), (12.69,4.92,12.77,5.08)])
R(dffc, Metal1_pin, [(7.72,-5.08,18.49,-4.92), (11.09,-4.535,11.25,-4.375), (8.37,-0.08,8.53,0.08), (8.63,2.37,8.79,2.535), (7.72,4.92,18.18,5.08)])
R(dffc, Metal2, [(8.605,-4.795,16.985,-4.595), (8.605,-4.795,8.81,-4.435), (16.785,-4.795,16.985,-4.365), (7.635,-4.14,11.25,-3.94), (11.09,-4.14,16.995,-3.94), (9.165,-3.025,11.89,-2.825), (12.21,-3.025,17.58,-2.825), (14.68,-1.955,16.795,-1.755), (16.795,-1.955,18.49,-1.755), (8.61,-1.875,11.275,-1.675), (12.21,-1.33,13.605,-1.13), (15.905,-1.33,16.105,1.33), (15.905,-1.33,18.49,-1.13), (8.61,-0.99,8.81,0.685), (16.615,-0.905,16.815,2.265), (11.69,-0.825,13.6,-0.625), (13.4,-0.825,13.6,1.33), (17.93,-0.805,18.13,2.265), (7.17,-0.6,7.37,0.635), (7.64,-0.57,7.84,0.625), (10.37,-0.545,10.57,0.595), (8.61,0.935,11.195,1.135), (7.94,1.515,10.04,1.715), (10.39,1.515,11.785,1.715), (12.13,1.755,14.825,1.955), (7.625,2.065,8.255,2.265), (8.255,2.065,9.405,2.265), (9.245,2.065,11.19,2.265), (16.615,2.065,17.29,2.265), (17.62,2.065,18.13,2.265), (8.63,3.135,9.425,3.335)])
R(dffc, Metal2_pin, [(18.33,-1.935,18.49,-1.775), (18.33,-1.31,18.49,-1.15), (15.925,1.15,16.085,1.31), (7.985,1.535,8.145,1.695), (9.86,1.535,10.02,1.695), (7.655,2.085,7.83,2.245), (8.095,2.085,8.255,2.245), (8.095,2.085,8.255,2.245), (17.95,2.085,18.11,2.245), (8.63,3.155,8.79,3.315)])
R(dffc, Via1, [(8.615,-4.63,8.805,-4.44), (16.79,-4.555,16.98,-4.365), (7.645,-4.135,7.835,-3.945), (11.075,-4.135,11.265,-3.945), (16.795,-4.135,16.985,-3.945), (9.17,-3.02,9.36,-2.83), (11.69,-3.02,11.88,-2.83), (12.22,-3.02,12.41,-2.83), (17.43,-3.02,17.62,-2.83), (14.69,-1.95,14.88,-1.76), (16.62,-1.95,16.81,-1.76), (8.615,-1.87,8.805,-1.68), (11.075,-1.87,11.265,-1.68), (12.22,-1.325,12.41,-1.135), (13.405,-1.325,13.595,-1.135), (15.91,-1.325,16.1,-1.135), (8.615,-0.98,8.805,-0.79), (16.62,-0.895,16.81,-0.705), (11.69,-0.82,11.88,-0.63), (17.96,-0.82,18.15,-0.63), (7.175,-0.59,7.365,-0.4), (7.645,-0.56,7.835,-0.37), (10.375,-0.525,10.565,-0.335), (10.375,0.405,10.565,0.595), (7.645,0.425,7.835,0.615), (7.175,0.44,7.365,0.63), (8.615,0.49,8.805,0.68), (8.615,0.94,8.805,1.13), (10.99,0.94,11.18,1.13), (13.405,1.135,13.595,1.325), (15.91,1.135,16.1,1.325), (9.845,1.52,10.035,1.71), (11.59,1.52,11.78,1.71), (10.375,1.525,10.565,1.715), (12.135,1.76,12.325,1.95), (14.625,1.76,14.815,1.95), (9.23,2.065,9.42,2.255), (7.645,2.07,7.835,2.26), (8.08,2.07,8.27,2.26), (10.99,2.07,11.18,2.26), (17.09,2.07,17.28,2.26), (17.625,2.07,17.815,2.26), (8.615,3.14,8.805,3.33), (9.23,3.14,9.42,3.33)])
R(dffc, NWell, [(7.72,-5.13,18.49,-4.87)])
dffc.add(gdstk.Reference(nor2_5, (15.11,0)))
dffc.add(gdstk.Reference(tg_15, (17.765,0), x_reflection=True))
dffc.add(gdstk.Reference(inverter_9, (8.18,0)))
dffc.add(gdstk.Reference(inverter_10, (17.19,0)))
dffc.add(gdstk.Reference(tg_13, (10.205,0)))
dffc.add(gdstk.Reference(inverter_11, (9.795,0), rotation=pi))
dffc.add(gdstk.Reference(tg_14, (12.05,0), x_reflection=True))
dffc.add(gdstk.Reference(nor2_6, (14.395,0), rotation=pi))
dffc.add(gdstk.Reference(tg_16, (11.965,0)))
dffc.add(gdstk.Label('VDD', (7.8,5), layer=8, texttype=2))
dffc.add(gdstk.Label('N_E', (11.15,-4.46), layer=8, texttype=2))
dffc.add(gdstk.Label('VDD', (7.8,-5), layer=8, texttype=2))
dffc.add(gdstk.Label('VSS', (8.45,0), layer=8, texttype=2))
dffc.add(gdstk.Label('D', (8.055,1.61), layer=10, texttype=2))
dffc.add(gdstk.Label('CLK', (7.72,2.185), layer=10, texttype=2))
dffc.add(gdstk.Label('Qn', (18.025,2.165), layer=10, texttype=2))
dffc.add(gdstk.Label('CLR', (18.39,-1.23), layer=10, texttype=2))
dffc.add(gdstk.Label('Q', (18.41,-1.855), layer=10, texttype=2))

lib.write_gds('dffc.gds')
